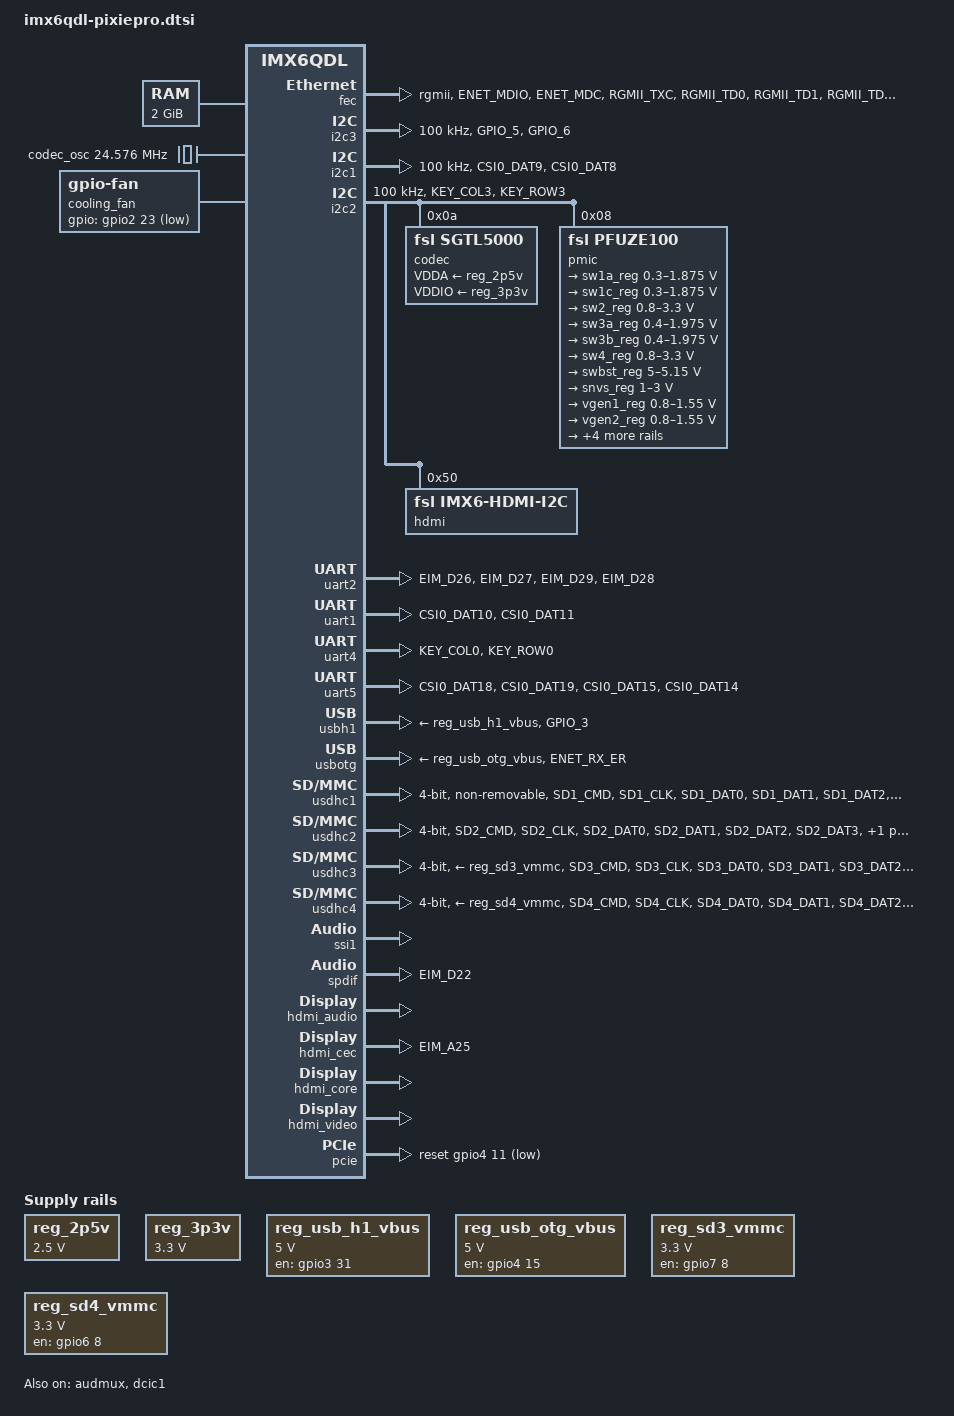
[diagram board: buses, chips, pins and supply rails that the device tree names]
/*
 * Copyright 2015 CODE INGENIERIA, Inc.
 *
 * The code contained herein is licensed under the GNU General Public
 * License. You may obtain a copy of the GNU General Public License
 * Version 2 or later at the following locations:
 *
 * http://www.opensource.org/licenses/gpl-license.html
 * http://www.gnu.org/copyleft/gpl.html
 */

#include <dt-bindings/input/input.h>

/ {
	aliases {
		mxcfb0 = &mxcfb1;
		mxcfb1 = &mxcfb2;
		mxcfb2 = &mxcfb3;
		mxcfb3 = &mxcfb4;
	};

	memory {
		reg = <0x10000000 0x80000000>;
	};

	clocks {
		codec_osc: anaclk2 {
			compatible = "fixed-clock";
			#clock-cells = <0>;
			clock-frequency = <24576000>;
		};
	};
	cooling_fan: gpio_fan {
		compatible = "gpio-fan";
		gpios = <&gpio2 23 1>;
		gpio-fan,speed-map = <0    0>,
                         <5000 1>;
    	cooling-min-state = <0>;
    	cooling-max-state = <1>;
    	#cooling-cells = <2>;
	};

	sound-sgtl5000 {
		compatible = "fsl,imx6-pixieboard-sgtl5000",
					 "fsl,imx-audio-sgtl5000";
		model = "imx6-pixieboard-sgtl5000";
		cpu-dai = <&ssi1>;
		audio-codec = <&codec>;
		audio-routing =
			"MIC_IN", "Mic Jack",
			"Mic Jack", "Mic Bias",
			"Headphone Jack", "HP_OUT";
		mux-int-port = <1>;
		mux-ext-port = <4>;
	};

	sound-hdmi {
		compatible = "fsl,imx6q-audio-hdmi",
			     "fsl,imx-audio-hdmi";
		model = "imx-audio-hdmi";
		hdmi-controller = <&hdmi_audio>;
	};

	sound-spdif {
		compatible = "fsl,imx-pixie-spdif",
			   "fsl,imx-audio-spdif";
		model = "imx-spdif";
		spdif-controller = <&spdif>;
		spdif-out;
	};

	mxcfb1: fb@0 {
		compatible = "fsl,mxc_sdc_fb";
		disp_dev = "ldb";
		interface_pix_fmt = "RGB666";
		default_bpp = <16>;
		int_clk = <0>;
		late_init = <0>;
		status = "disabled";
	};

	mxcfb2: fb@1 {
		compatible = "fsl,mxc_sdc_fb";
		disp_dev = "hdmi";
		interface_pix_fmt = "RGB24";
		mode_str ="1920x1080M@60";
		default_bpp = <24>;
		int_clk = <0>;
		late_init = <0>;
		status = "disabled";
	};

	mxcfb3: fb@2 {
		compatible = "fsl,mxc_sdc_fb";
		disp_dev = "lcd";
		interface_pix_fmt = "RGB565";
		mode_str ="CLAA-WVGA";
		default_bpp = <16>;
		int_clk = <0>;
		late_init = <0>;
		status = "disabled";
	};

	mxcfb4: fb@3 {
		compatible = "fsl,mxc_sdc_fb";
		disp_dev = "ldb";
		interface_pix_fmt = "RGB666";
		default_bpp = <16>;
		int_clk = <0>;
		late_init = <0>;
		status = "disabled";
	};

	regulators {
		compatible = "simple-bus";
		#address-cells = <1>;
		#size-cells = <0>;

		reg_2p5v: regulator {
			compatible = "regulator-fixed";
			regulator-name = "2P5V";
			regulator-min-microvolt = <2500000>;
			regulator-max-microvolt = <2500000>;
			regulator-always-on;
		};

		reg_3p3v: 3p3v {
			compatible = "regulator-fixed";
			regulator-name = "3P3V";
			regulator-min-microvolt = <3300000>;
			regulator-max-microvolt = <3300000>;
			regulator-always-on;
		};

		reg_usb_h1_vbus: usb_h1_vbus {
			compatible = "regulator-fixed";
			regulator-name = "usb_h1_vbus";
			regulator-min-microvolt = <5000000>;
			regulator-max-microvolt = <5000000>;
			gpio = <&gpio3 31 0>; //MEGA OJO TIENE QUE CAMBIAR 
			enable-active-high;
		};

		reg_usb_otg_vbus: usb_otg_vbus {
			compatible = "regulator-fixed";
			regulator-name = "usb_otg_vbus";
			regulator-min-microvolt = <5000000>;
			regulator-max-microvolt = <5000000>;
			gpio = <&gpio4 15 0>;
			enable-active-high;
			};

		reg_sd3_vmmc: sd3_vmmc{
			compatible = "regulator-fixed";
			regulator-name = "USDHC Port 3 Power Enable";
			regulator-min-microvolt = <3300000>;
			regulator-max-microvolt = <3300000>;
			gpio = <&gpio7 8 0>;
			enable-active-high;
		};

		reg_sd4_vmmc: sd4_vmmc{
			compatible = "regulator-fixed";
			regulator-name = "USDHC Port 4 Power Enable";
			regulator-min-microvolt = <3300000>;
			regulator-max-microvolt = <3300000>;
			gpio = <&gpio6 8 0>;
			enable-active-high;

		};

		/*regulator1 for pcie power-on-gpio */
		/*reg_avastar_pdn: avastar_pdn {
			compatible = "regulator-fixed";
			regulator-name = "Avastar 88w8897 Power Enable";
			regulator-min-microvolt = <3300000>;
			regulator-max-microvolt = <3300000>;
			gpio = <&gpio4 10 0>;
			enable-active-high;
		};*/

		
	};

};

&audmux {
	pinctrl-names = "default";
	pinctrl-0 = <&pinctrl_audmux>;
	status = "okay";
};

&clks {
	assigned-clocks = <&clks IMX6QDL_PLL4_BYPASS_SRC>,
			  <&clks IMX6QDL_PLL4_BYPASS>,
			  <&clks IMX6QDL_CLK_PLL4_POST_DIV>;
	assigned-clock-parents = <&clks IMX6QDL_CLK_LVDS2_IN>,
				<&clks IMX6QDL_PLL4_BYPASS_SRC>;
	assigned-clock-rates = <0>, <0>, <24576000>;
};

&fec {
	pinctrl-names = "default";
	pinctrl-0 = <&pinctrl_enet>;
	phy-mode = "rgmii";
	fsl,magic-packet;
	//status = "okay";
};

&i2c3 {
	pinctrl-names = "default";
	clock-frequency = <100000>;
	pinctrl-0 = <&pinctrl_i2c3>;
	status = "okay";
};

&i2c1 {
	pinctrl-names = "default";
	clock-frequency = <100000>;
	pinctrl-0 = <&pinctrl_i2c1>;
	status = "okay";
};

&i2c2 {
	clock-frequency = <100000>;
	pinctrl-names = "default";
	pinctrl-0 = <&pinctrl_i2c2>;
	status = "okay";

	codec: sgtl5000@0a {
		compatible = "fsl,sgtl5000";
		reg = <0x0a>;
		clocks = <&clks 201>;
		VDDA-supply = <&reg_2p5v>;
		VDDIO-supply = <&reg_3p3v>;
	};


	pmic: pfuze100@08 {
		compatible = "fsl,pfuze100";
		pinctrl-0 = <&pinctrl_pmic>;
		reg = <0x08>;

		regulators {
			sw1a_reg: sw1ab {
				regulator-min-microvolt = <300000>;
				regulator-max-microvolt = <1875000>;
				regulator-boot-on;
				regulator-always-on;
				regulator-ramp-delay = <6250>;
			};

			sw1c_reg: sw1c {
				regulator-min-microvolt = <300000>;
				regulator-max-microvolt = <1875000>;
				regulator-boot-on;
				regulator-always-on;
				regulator-ramp-delay = <6250>;
			};

			sw2_reg: sw2 {
				regulator-min-microvolt = <800000>;
				regulator-max-microvolt = <3300000>;
				regulator-boot-on;
				regulator-always-on;
			};

			sw3a_reg: sw3a {
				regulator-min-microvolt = <400000>;
				regulator-max-microvolt = <1975000>;
				regulator-boot-on;
				regulator-always-on;
			};

			sw3b_reg: sw3b {
				regulator-min-microvolt = <400000>;
				regulator-max-microvolt = <1975000>;
				regulator-boot-on;
				regulator-always-on;
			};

			sw4_reg: sw4 {
				regulator-min-microvolt = <800000>;
				regulator-max-microvolt = <3300000>;
			};

			swbst_reg: swbst {
				regulator-min-microvolt = <5000000>;
				regulator-max-microvolt = <5150000>;
			};

			snvs_reg: vsnvs {
				regulator-min-microvolt = <1000000>;
				regulator-max-microvolt = <3000000>;
				regulator-boot-on;
				regulator-always-on;
			};

			vref_reg: vrefddr {
				regulator-boot-on;
				regulator-always-on;
			};

			vgen1_reg: vgen1 {
				regulator-min-microvolt = <800000>;
				regulator-max-microvolt = <1550000>;
			};

			vgen2_reg: vgen2 {
				regulator-min-microvolt = <800000>;
				regulator-max-microvolt = <1550000>;
			};

			vgen3_reg: vgen3 {
				regulator-min-microvolt = <1800000>;
				regulator-max-microvolt = <3300000>;
			};

			vgen4_reg: vgen4 {
				regulator-min-microvolt = <1800000>;
				regulator-max-microvolt = <3300000>;
				regulator-always-on;
			};

			vgen5_reg: vgen5 {
				regulator-min-microvolt = <1800000>;
				regulator-max-microvolt = <3300000>;
				regulator-always-on;
			};

			vgen6_reg: vgen6 {
				regulator-min-microvolt = <1800000>;
				regulator-max-microvolt = <3300000>;
				regulator-always-on;
			};
		};
	};

	hdmi: edid@50 {
		compatible = "fsl,imx6-hdmi-i2c";
		reg = <0x50>;
	};


};




&iomuxc {
	pinctrl-names = "default";
	pinctrl-0 = <&pinctrl_hog>;

	imx6qdl-pixiepro {

		pinctrl_hog: hoggrp {
			fsl,pins = <

				MX6QDL_PAD_GPIO_18__SD3_VSELECT			0x17059 //SD3 VSELECT
				MX6QDL_PAD_KEY_ROW1__SD2_VSELECT		0x17059 //SD2 VSELECT
				MX6QDL_PAD_NANDF_CS1__SD4_VSELECT 		0x17059 //SD4 VSELECT
				MX6QDL_PAD_KEY_COL1__SD1_VSELECT    	0x17059 //SD1 VSELECT

				MX6QDL_PAD_GPIO_1__GPIO1_IO01 			0x80000000 //SD1 CD
				MX6QDL_PAD_GPIO_4__GPIO1_IO04       	0x80000000 //SD2 CD 
				MX6QDL_PAD_EIM_D21__GPIO3_IO21 			0x80000000 //SD4 CD
				MX6QDL_PAD_EIM_D20__GPIO3_IO20 			0x80000000  //SD3 CD

				MX6QDL_PAD_EIM_A23__GPIO6_IO06 			0x80000000 //CGF
				
				MX6QDL_PAD_EIM_A22__GPIO2_IO16 			0x80000000 //CFG

				MX6QDL_PAD_GPIO_0__CCM_CLKO1			0x130b0  //AUDIO CLOCK

				MX6QDL_PAD_EIM_CS0__GPIO2_IO23      	0x80000000 //fan control
				MX6QDL_PAD_NANDF_D3__GPIO2_IO03			0x80000000 //uc20_pwr
				MX6QDL_PAD_NANDF_D2__GPIO2_IO02 		0x80000000 //ec20_wakeup_in_gpio
				MX6QDL_PAD_NANDF_D1__GPIO2_IO01			0x80000000 //ec20_w_disable_gpio
				MX6QDL_PAD_NANDF_D0__GPIO2_IO00 		0x80000000 //uc20_rst
				MX6QDL_PAD_NANDF_CS3__GPIO6_IO16 		0x80000000 //ap_ready_gpio

				MX6QDL_PAD_NANDF_ALE__GPIO6_IO08 		0x80000000 //SD4_RST
				MX6QDL_PAD_SD3_RST__GPIO7_IO08			0x80000000 //SD3 RST

				MX6QDL_PAD_KEY_ROW2__GPIO4_IO11 		0x80000000 //aw_gpio12
				MX6QDL_PAD_KEY_COL2__GPIO4_IO10 		0x80000000 //aw_pwdn
				MX6QDL_PAD_EIM_D23__GPIO3_IO23 			0x80000000 //aw_gpio13
				MX6QDL_PAD_EIM_BCLK__GPIO6_IO31			0x80000000 //aw_pcie_wakeup
				MX6QDL_PAD_CSI0_DAT16__GPIO6_IO02		0x80000000 //aw_pcie_clkreq

				MX6QDL_PAD_GPIO_17__GPIO7_IO12 			0x80000000 //user_led2
				MX6QDL_PAD_GPIO_16__GPIO7_IO11			0x80000000 //user_led3
				MX6QDL_PAD_CSI0_DAT13__GPIO5_IO31 		0x80000000 //FXAS21002_RST
				MX6QDL_PAD_CSI0_DATA_EN__GPIO5_IO20 	0x80000000 //FXOS8700_INT
				MX6QDL_PAD_CSI0_VSYNC__GPIO5_IO21   	0x80000000 //FXAS21002_INT
				MX6QDL_PAD_CSI0_PIXCLK__GPIO5_IO18  	0x80000000 //user_led3
				MX6QDL_PAD_ENET_RXD0__GPIO1_IO27    	0x80000000 //FXOS8700_RST
				MX6QDL_PAD_ENET_TXD0__GPIO1_IO30    	0x80000000 //Plug Inserted
				MX6QDL_PAD_EIM_D31__GPIO3_IO31 			0x80000000 //USB_H1_PWR

				MX6QDL_PAD_KEY_ROW4__GPIO4_IO15        0x80000000 //USB OTG PWREN
				MX6QDL_PAD_KEY_COL4__USB_OTG_OC 	   0x1b0b0     //USB OTG OC Detect



				//MX6QDL_PAD_CSI0_DAT4__AUD3_TXC			0x130b0    // BT_AUD
				//MX6QDL_PAD_CSI0_DAT5__AUD3_TXD			0x130b0    // BT_AUD
				//MX6QDL_PAD_CSI0_DAT6__AUD3_TXFS			0x130b0    // BT_AUD
				//MX6QDL_PAD_CSI0_DAT7__AUD3_RXD			0x130b0    // BT_AUD

			>;
		};

		pinctrl_pmic: pmicgrp {
			fsl,pins = <
				MX6QDL_PAD_DISP0_DAT19__GPIO5_IO13	0x80000000 /* PMIC_INT_B */
			>;
		};

		pinctrl_audmux: audmux {
            fsl,pins = <
				MX6QDL_PAD_DISP0_DAT23__AUD4_RXD  0x130b0
				MX6QDL_PAD_DISP0_DAT20__AUD4_TXC  0x130b0
				MX6QDL_PAD_DISP0_DAT21__AUD4_TXD  0x110b0
				MX6QDL_PAD_DISP0_DAT22__AUD4_TXFS 0x130b0
            >;
        };

		pinctrl_i2c2: i2c2grp {
			fsl,pins = <
				MX6QDL_PAD_KEY_COL3__I2C2_SCL  0x4001b8b1
				MX6QDL_PAD_KEY_ROW3__I2C2_SDA  0x4001b8b1
			>;
		};

		pinctrl_i2c3: i2c3grp {
			fsl,pins = <
				MX6QDL_PAD_GPIO_5__I2C3_SCL   0x4001b8b1
				MX6QDL_PAD_GPIO_6__I2C3_SDA   0x4001b8b1	
			>;
		};

		pinctrl_i2c1: i2c1grp {
			fsl,pins = <
				MX6QDL_PAD_CSI0_DAT9__I2C1_SCL   0x4001b8b1
				MX6QDL_PAD_CSI0_DAT8__I2C1_SDA   0x4001b8b1	
			>;
		};

		pinctrl_uart4: uart4grp {
			fsl,pins = <
				MX6QDL_PAD_KEY_COL0__UART4_TX_DATA	0x1b0b1
				MX6QDL_PAD_KEY_ROW0__UART4_RX_DATA	0x1b0b1
			>;
		};

		pinctrl_uart2: uart2grp {
			fsl,pins = <
				MX6QDL_PAD_EIM_D26__UART2_TX_DATA 	0x1b0b1 
				MX6QDL_PAD_EIM_D27__UART2_RX_DATA	0x1b0b1 
				MX6QDL_PAD_EIM_D29__UART2_RTS_B     0x1b0b1
				MX6QDL_PAD_EIM_D28__UART2_CTS_B 	0x1b0b1
			>;
		};

		pinctrl_uart5: uart5grp {
			fsl,pins = < 
				MX6QDL_PAD_CSI0_DAT18__UART5_RTS_B 	0x1b0b1 
				MX6QDL_PAD_CSI0_DAT19__UART5_CTS_B 	0x1b0b1
				MX6QDL_PAD_CSI0_DAT15__UART5_RX_DATA 0x1b0b1
				MX6QDL_PAD_CSI0_DAT14__UART5_TX_DATA 0x1b0b1
			>;
		};

		pinctrl_uart1: uart1grp {
			fsl,pins = <
				MX6QDL_PAD_CSI0_DAT10__UART1_TX_DATA 0x1b0b1 /* UART1 TX */
				MX6QDL_PAD_CSI0_DAT11__UART1_RX_DATA 0x1b0b1 /* UART1 RX */
			>;
		};



		pinctrl_usdhc1: usdhc1grp {
			fsl,pins = <
				MX6QDL_PAD_SD1_CMD__SD1_CMD    0x17059
				MX6QDL_PAD_SD1_CLK__SD1_CLK    0x10059
				MX6QDL_PAD_SD1_DAT0__SD1_DATA0 0x17059
				MX6QDL_PAD_SD1_DAT1__SD1_DATA1 0x17059
				MX6QDL_PAD_SD1_DAT2__SD1_DATA2 0x17059
				MX6QDL_PAD_SD1_DAT3__SD1_DATA3 0x17059
	
			>;
		};

		pinctrl_usdhc1_100mhz: usdhc1grp100mhz {
			fsl,pins = <
				MX6QDL_PAD_SD1_CMD__SD1_CMD    0x170b9
				MX6QDL_PAD_SD1_CLK__SD1_CLK    0x100b9
				MX6QDL_PAD_SD1_DAT0__SD1_DATA0 0x170b9
				MX6QDL_PAD_SD1_DAT1__SD1_DATA1 0x170b9
				MX6QDL_PAD_SD1_DAT2__SD1_DATA2 0x170b9
				MX6QDL_PAD_SD1_DAT3__SD1_DATA3 0x170b9
			>;
		};

		pinctrl_usdhc1_200mhz: usdhc1grp200mhz {
			fsl,pins = <
				MX6QDL_PAD_SD1_CMD__SD1_CMD    0x170f9
				MX6QDL_PAD_SD1_CLK__SD1_CLK    0x100f9
				MX6QDL_PAD_SD1_DAT0__SD1_DATA0 0x170f9
				MX6QDL_PAD_SD1_DAT1__SD1_DATA1 0x170f9
				MX6QDL_PAD_SD1_DAT2__SD1_DATA2 0x170f9
				MX6QDL_PAD_SD1_DAT3__SD1_DATA3 0x170f9


			>;
		};


		pinctrl_usdhc2: usdhc2grp {
			fsl,pins = <
				MX6QDL_PAD_SD2_CMD__SD2_CMD    0x17059
				MX6QDL_PAD_SD2_CLK__SD2_CLK    0x10059
				MX6QDL_PAD_SD2_DAT0__SD2_DATA0 0x17059
				MX6QDL_PAD_SD2_DAT1__SD2_DATA1 0x17059
				MX6QDL_PAD_SD2_DAT2__SD2_DATA2 0x17059
				MX6QDL_PAD_SD2_DAT3__SD2_DATA3 0x17059
	
			>;
		};

		pinctrl_usdhc2_100mhz: usdhc2grp100mhz {
			fsl,pins = <
				MX6QDL_PAD_SD2_CMD__SD2_CMD    0x170b9
				MX6QDL_PAD_SD2_CLK__SD2_CLK    0x100b9
				MX6QDL_PAD_SD2_DAT0__SD2_DATA0 0x170b9
				MX6QDL_PAD_SD2_DAT1__SD2_DATA1 0x170b9
				MX6QDL_PAD_SD2_DAT2__SD2_DATA2 0x170b9
				MX6QDL_PAD_SD2_DAT3__SD2_DATA3 0x170b9
			>;
		};

		pinctrl_usdhc2_200mhz: usdhc2grp200mhz {
			fsl,pins = <
				MX6QDL_PAD_SD2_CMD__SD2_CMD    0x170f9
				MX6QDL_PAD_SD2_CLK__SD2_CLK    0x100f9
				MX6QDL_PAD_SD2_DAT0__SD2_DATA0 0x170f9
				MX6QDL_PAD_SD2_DAT1__SD2_DATA1 0x170f9
				MX6QDL_PAD_SD2_DAT2__SD2_DATA2 0x170f9
				MX6QDL_PAD_SD2_DAT3__SD2_DATA3 0x170f9
			>;
		};

		pinctrl_usdhc3: usdhc3grp {
			fsl,pins = <
				MX6QDL_PAD_SD3_CMD__SD3_CMD		0x17059
				MX6QDL_PAD_SD3_CLK__SD3_CLK		0x10059
				MX6QDL_PAD_SD3_DAT0__SD3_DATA0		0x17059
				MX6QDL_PAD_SD3_DAT1__SD3_DATA1		0x17059
				MX6QDL_PAD_SD3_DAT2__SD3_DATA2		0x17059
				MX6QDL_PAD_SD3_DAT3__SD3_DATA3		0x17059
	
			>;
		};

		pinctrl_usdhc3_100mhz: usdhc3grp100mhz {
			fsl,pins = <
				MX6QDL_PAD_SD3_CMD__SD3_CMD		0x170b9
				MX6QDL_PAD_SD3_CLK__SD3_CLK		0x100b9
				MX6QDL_PAD_SD3_DAT0__SD3_DATA0		0x170b9
				MX6QDL_PAD_SD3_DAT1__SD3_DATA1		0x170b9
				MX6QDL_PAD_SD3_DAT2__SD3_DATA2		0x170b9
				MX6QDL_PAD_SD3_DAT3__SD3_DATA3		0x170b9
			>;
		};

		pinctrl_usdhc3_200mhz: usdhc3grp200mhz {
			fsl,pins = <
				MX6QDL_PAD_SD3_CMD__SD3_CMD		0x170f9
				MX6QDL_PAD_SD3_CLK__SD3_CLK		0x100f9
				MX6QDL_PAD_SD3_DAT0__SD3_DATA0		0x170f9
				MX6QDL_PAD_SD3_DAT1__SD3_DATA1		0x170f9
				MX6QDL_PAD_SD3_DAT2__SD3_DATA2		0x170f9
				MX6QDL_PAD_SD3_DAT3__SD3_DATA3		0x170f9
			>;
		};


		pinctrl_usdhc4: usdhc4grp {
			fsl,pins = <
				MX6QDL_PAD_SD4_CMD__SD4_CMD    0x17059
				MX6QDL_PAD_SD4_CLK__SD4_CLK    0x10059
				MX6QDL_PAD_SD4_DAT0__SD4_DATA0 0x17059
				MX6QDL_PAD_SD4_DAT1__SD4_DATA1 0x17059
				MX6QDL_PAD_SD4_DAT2__SD4_DATA2 0x17059
				MX6QDL_PAD_SD4_DAT3__SD4_DATA3 0x17059
	
			>;
		};

		pinctrl_usdhc4_100mhz: usdhc4grp100mhz {
			fsl,pins = <
				MX6QDL_PAD_SD4_CMD__SD4_CMD    0x170b9
				MX6QDL_PAD_SD4_CLK__SD4_CLK    0x100b9
				MX6QDL_PAD_SD4_DAT0__SD4_DATA0 0x170b9
				MX6QDL_PAD_SD4_DAT1__SD4_DATA1 0x170b9
				MX6QDL_PAD_SD4_DAT2__SD4_DATA2 0x170b9
				MX6QDL_PAD_SD4_DAT3__SD4_DATA3 0x170b9
			>;
		};

		pinctrl_usdhc4_200mhz: usdhc4grp200mhz {
			fsl,pins = <
				MX6QDL_PAD_SD4_CMD__SD4_CMD    0x170f9
				MX6QDL_PAD_SD4_CLK__SD4_CLK    0x100f9
				MX6QDL_PAD_SD4_DAT0__SD4_DATA0 0x170f9
				MX6QDL_PAD_SD4_DAT1__SD4_DATA1 0x170f9
				MX6QDL_PAD_SD4_DAT2__SD4_DATA2 0x170f9
				MX6QDL_PAD_SD4_DAT3__SD4_DATA3 0x170f9
			>;
		};


		pinctrl_spdif: spdifgrp {
			fsl,pins = <
				MX6QDL_PAD_EIM_D22__SPDIF_OUT		0x1b0b0    // SPDIF OUT
			>;
		};


		pinctrl_enet: enetgrp {
			fsl,pins = <
				MX6QDL_PAD_ENET_MDIO__ENET_MDIO 	0x1b0b0
				MX6QDL_PAD_ENET_MDC__ENET_MDC 		0x1b0b0
				MX6QDL_PAD_RGMII_TXC__RGMII_TXC		0x1b0b0
				MX6QDL_PAD_RGMII_TD0__RGMII_TD0		0x1b0b0
				MX6QDL_PAD_RGMII_TD1__RGMII_TD1		0x1b0b0
				MX6QDL_PAD_RGMII_TD2__RGMII_TD2		0x1b0b0
				MX6QDL_PAD_RGMII_TD3__RGMII_TD3		0x1b0b0
				MX6QDL_PAD_RGMII_TX_CTL__RGMII_TX_CTL	0x1b0b0
				MX6QDL_PAD_ENET_REF_CLK__ENET_TX_CLK	0x1b0b0
				MX6QDL_PAD_RGMII_RXC__RGMII_RXC		0x1b0b0
				MX6QDL_PAD_RGMII_RD0__RGMII_RD0		0x1b0b0
				MX6QDL_PAD_RGMII_RD1__RGMII_RD1		0x1b0b0
				MX6QDL_PAD_RGMII_RD2__RGMII_RD2		0x1b0b0
				MX6QDL_PAD_RGMII_RD3__RGMII_RD3		0x1b0b0
				MX6QDL_PAD_RGMII_RX_CTL__RGMII_RX_CTL	0x1b0b0
			>;
		};

		pinctrl_usbh1_oc: usbh1_ocgrp {
			fsl,pins = <
				MX6QDL_PAD_GPIO_3__USB_H1_OC    	0x1b0b0	    //USB H1 OC Detect
			>;
		};

		pinctrl_usbotg: usbotggrp {
			fsl,pins = <
				MX6QDL_PAD_ENET_RX_ER__USB_OTG_ID   0x1b0b0
			>;
		};

	    pinctrl_hdmi_cec: hdmicecgrp {
			fsl,pins = <
				MX6QDL_PAD_EIM_A25__HDMI_TX_CEC_LINE 0x1f8b0
			>;
		};

};

};


&uart2 {
	pinctrl-names = "default";
	pinctrl-0 = <&pinctrl_uart2>;
	status = "okay";
};

&uart1 {
	pinctrl-names = "default";
	pinctrl-0 = <&pinctrl_uart1>; 
	status = "okay";
};

&uart4 {
	pinctrl-names = "default";
	pinctrl-0 = <&pinctrl_uart4>;
	status = "okay";
};

&uart5 {
	pinctrl-names = "default";
	pinctrl-0 = <&pinctrl_uart5>;
	fsl,uart-has-rtscts;
	fsl,dce-mode;
	status = "okay";
};

&usbh1 {
	vbus-supply = <&reg_usb_h1_vbus>;
	pinctrl-names = "default";
	pinctrl-0 = <&pinctrl_usbh1_oc>;
	status = "okay";
};

&usbotg {
	vbus-supply = <&reg_usb_otg_vbus>;
	pinctrl-names = "default";
	pinctrl-0 = <&pinctrl_usbotg>;
	imx6-usb-charger-detection;
	status = "okay";
};


&usdhc1 {
	pinctrl-names = "default", "state_100mhz", "state_200mhz";
	pinctrl-0 = <&pinctrl_usdhc1>;
	pinctrl-1 = <&pinctrl_usdhc1_100mhz>;
	pinctrl-2 = <&pinctrl_usdhc1_200mhz>;
   	non-removable;
	vqmmc-1-8-v = <1>;
	bus-width = <4>;
	keep-power-in-suspend;
	enable-sdio-wakeup;
	//status = "okay";
};

&usdhc2 {
	pinctrl-names = "default", "state_100mhz", "state_200mhz";
	pinctrl-0 = <&pinctrl_usdhc2>;
	pinctrl-1 = <&pinctrl_usdhc2_100mhz>;
	pinctrl-2 = <&pinctrl_usdhc2_200mhz>;
	cd-gpios = <&gpio1 4 0>;
	vqmmc-1-8-v = <1>;
	bus-width = <4>;
	keep-power-in-suspend;
	enable-sdio-wakeup;
	status = "okay";
};

&usdhc3 {
	pinctrl-names = "default", "state_100mhz", "state_200mhz";
	pinctrl-0 = <&pinctrl_usdhc3>;
	pinctrl-1 = <&pinctrl_usdhc3_100mhz>;
	pinctrl-2 = <&pinctrl_usdhc3_200mhz>;
	cd-gpios = <&gpio3 20 0>;
	vmmc-supply = <&reg_sd3_vmmc>;
	vqmmc-1-8-v = <1>;
	bus-width = <4>;
	keep-power-in-suspend;
	enable-sdio-wakeup;
	status = "okay";
};

&usdhc4 {
	pinctrl-names = "default", "state_100mhz", "state_200mhz";
	pinctrl-0 = <&pinctrl_usdhc4>;
	pinctrl-1 = <&pinctrl_usdhc4_100mhz>;
	pinctrl-2 = <&pinctrl_usdhc4_200mhz>;
	cd-gpios = <&gpio3 21 0>;
	vmmc-supply = <&reg_sd4_vmmc>;
	vqmmc-1-8-v = <1>;
	bus-width = <4>;
	keep-power-in-suspend;
	enable-sdio-wakeup;
	status = "okay";
};

&ssi1 {
	fsl,mode = "i2s-slave";
	status = "okay";
};

&spdif {
	pinctrl-names = "default";
	pinctrl-0 = <&pinctrl_spdif>;
	assigned-clocks = <&clks IMX6QDL_CLK_SPDIF_SEL>,<&clks IMX6QDL_CLK_SPDIF_PODF>;
	assigned-clock-parents = <&clks IMX6QDL_CLK_PLL3_PFD3_454M>;
	assigned-clock-rates = <0>, <227368421>;
	status = "okay";
};

&dcic1 {
	dcic_id = <0>;
	dcic_mux = "dcic-hdmi";
	status = "okay";
};

&hdmi_audio {
	status = "okay";
};

&hdmi_cec {
	pinctrl-names = "default";
	pinctrl-0 = <&pinctrl_hdmi_cec>;
	status = "okay";
};

&hdmi_core {
	ipu_id = <0>;
	disp_id = <1>;
	status = "okay";
};

&hdmi_video {
	fsl,phy_reg_vlev = <0x0294>;
	fsl,phy_reg_cksymtx = <0x800d>;
	status = "okay";
};

&pcie {
    power-on-gpio=<&gpio4 10 GPIO_ACTIVE_HIGH>;
    reset-gpio=<&gpio4 11 GPIO_ACTIVE_LOW>;
    wakeup-gpio=<&gpio6 31 0>;
    status = "okay";
};
